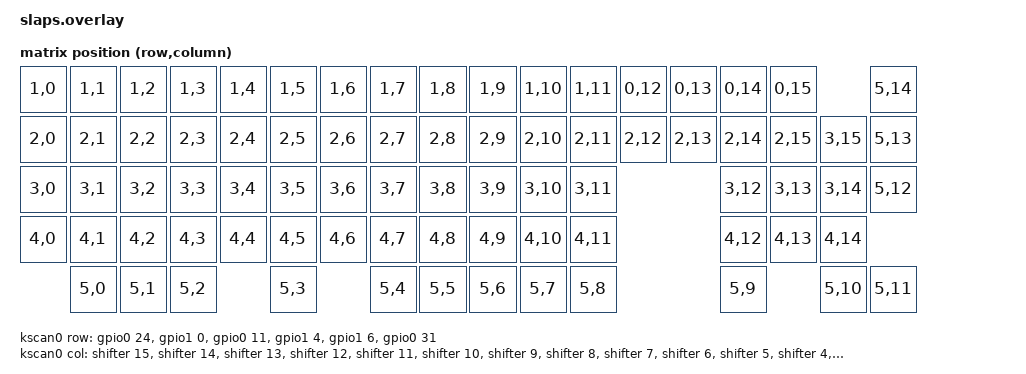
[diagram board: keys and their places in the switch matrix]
/*	
 * Copyright (c) 2024 Mick Reed
 *
 * SPDX-License-Identifier: MIT
 */

#include <dt-bindings/zmk/matrix_transform.h>
#include "slaps-layouts.dtsi"


&uart0 { status = "disabled"; };

&pro_micro_spi {
	status = "okay";
	cs-gpios = <&gpio1 11 GPIO_ACTIVE_LOW>;
	shifter: 595@0 {
		compatible = "zmk,gpio-595";
		status = "okay";
		gpio-controller;
		spi-max-frequency = <200000>;
		reg = <0>;
		#gpio-cells = <2>;
		ngpios = <16>;
	};
};

/ {
	chosen {
		zmk,kscan = &kscan0;
		zmk,physical-layout = &layout_0;
	};

	default_transform: default_transform_0 {
		compatible = "zmk,matrix-transform";
		columns = <16>;
		rows = <6>;

// |                      |     A0    |                                                                          |
// | A1  | A2  | A3  | A4 | A5  | A6  | A7  | A8  | A9  | A10 | A11 | A12 | A13 |  A14   |A15  | A16 | A17 | A18 |
// |  A19  | A20 | A21 | A22 | A23 | A24 | A25 | A26 | A27 | A28 | A29 | A30 | A31 | A32 | A33 | A34 | A35 | A36 |
// |    A37  | A38 | A39 | A40 | A41 | A42 | A43 | A44 | A45 | A46 | A47 | A48 |         | A49 | A50 | A51 | A52 |
// |      A53 | A54 |   A55 | A56 | A57 | A58 | A59 | A60 | A61 | A62 | A63 | A64 |   A65| A66 | A67 | A68 | A69 |
// | A70 |  A71  | A72 |            A73              | A74 | A75 | A76 | A77 | A78       | A79       | A80 |

		map = <
RC(1,0) RC(1,1) RC(1,2) RC(1,3) RC(1,4) RC(1,5) RC(1,6) RC(1,7) RC(1,8) RC(1,9) RC(1,10) RC(1,11) RC(0,12) RC(0,13)             RC(0,14) RC(0,15)          RC(5,14)
RC(2,0) RC(2,1) RC(2,2) RC(2,3) RC(2,4) RC(2,5) RC(2,6) RC(2,7) RC(2,8) RC(2,9) RC(2,10) RC(2,11) RC(2,12) RC(2,13)             RC(2,14) RC(2,15) RC(3,15) RC(5,13)
RC(3,0) RC(3,1) RC(3,2) RC(3,3) RC(3,4) RC(3,5) RC(3,6) RC(3,7) RC(3,8) RC(3,9) RC(3,10) RC(3,11)                               RC(3,12) RC(3,13) RC(3,14) RC(5,12)
RC(4,0) RC(4,1) RC(4,2) RC(4,3) RC(4,4) RC(4,5) RC(4,6) RC(4,7) RC(4,8) RC(4,9) RC(4,10) RC(4,11)                               RC(4,12) RC(4,13) RC(4,14)
        RC(5,0) RC(5,1) RC(5,2)         RC(5,3)         RC(5,4) RC(5,5) RC(5,6) RC(5,7)  RC(5,8)                                RC(5,9)           RC(5,10) RC(5,11)

		>;
	};

	kscan0: kscan_0 {
		compatible = "zmk,kscan-gpio-matrix";
		wakeup-source;
		diode-direction = "col2row";
		
		col-gpios
			= <&shifter 15 GPIO_ACTIVE_HIGH>
			, <&shifter 14 GPIO_ACTIVE_HIGH>
			, <&shifter 13 GPIO_ACTIVE_HIGH>
			, <&shifter 12 GPIO_ACTIVE_HIGH>
			, <&shifter 11 GPIO_ACTIVE_HIGH>
			, <&shifter 10 GPIO_ACTIVE_HIGH>
			, <&shifter  9 GPIO_ACTIVE_HIGH>
			, <&shifter  8 GPIO_ACTIVE_HIGH>
			, <&shifter  7 GPIO_ACTIVE_HIGH>
			, <&shifter  6 GPIO_ACTIVE_HIGH>
			, <&shifter  5 GPIO_ACTIVE_HIGH>
			, <&shifter  4 GPIO_ACTIVE_HIGH>
			, <&shifter  3 GPIO_ACTIVE_HIGH>
			, <&shifter  2 GPIO_ACTIVE_HIGH>
			, <&shifter  1 GPIO_ACTIVE_HIGH>
			, <&shifter  0 GPIO_ACTIVE_HIGH>
			;
		
		row-gpios
			= <&gpio0 24 (GPIO_ACTIVE_HIGH | GPIO_PULL_DOWN)>
			, <&gpio1  0 (GPIO_ACTIVE_HIGH | GPIO_PULL_DOWN)>
			, <&gpio0 11 (GPIO_ACTIVE_HIGH | GPIO_PULL_DOWN)>
			, <&gpio1  4 (GPIO_ACTIVE_HIGH | GPIO_PULL_DOWN)>
			, <&gpio1  6 (GPIO_ACTIVE_HIGH | GPIO_PULL_DOWN)>
			, <&gpio0 31 (GPIO_ACTIVE_HIGH | GPIO_PULL_DOWN)>
			;
	};
};


